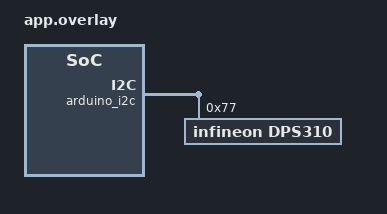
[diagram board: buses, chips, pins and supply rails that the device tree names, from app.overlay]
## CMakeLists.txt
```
# SPDX-License-Identifier: Apache-2.0

cmake_minimum_required(VERSION 3.13.1)
find_package(Zephyr REQUIRED HINTS $ENV{ZEPHYR_BASE})

project(dps310)
FILE(GLOB app_sources src/*.c)
target_sources(app PRIVATE ${app_sources})
```

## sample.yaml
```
sample:
  name: DP310 Sensor sample
tests:
  sample.sensor.dps310:
    harness: console
    tags: sensors
    depends_on: i2c arduino_i2c
    harness_config:
        type: one_line
        regex:
            - "temp: (.*); press: (.*);"
        fixture: fixture_i2c_dps310
```

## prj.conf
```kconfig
CONFIG_STDOUT_CONSOLE=y
CONFIG_I2C=y
CONFIG_SENSOR=y
CONFIG_DPS310=y
```

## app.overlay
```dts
/*
 * Copyright (c) 2019 Infineon Technologies AG
 *
 * SPDX-License-Identifier: Apache-2.0
 */

/*
 * A DPS310 attached to the Arduino I2C pins
 */

&arduino_i2c {
	DPS310@77 {
		status = "okay";
		compatible = "infineon,dps310";
		reg = <0x77>;
		label = "DPS310";
	};
};
```

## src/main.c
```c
/*
 * Copyright (c) 2019 Infineon Technologies AG
 *
 * SPDX-License-Identifier: Apache-2.0
 */

#include <zephyr.h>
#include <device.h>
#include <drivers/sensor.h>
#include <stdlib.h>

void main(void)
{
	printk("Hello DPS310\n");
	const struct device *dev = device_get_binding(DT_LABEL(DT_INST(0, infineon_dps310)));

	if (dev == NULL) {
		printk("Could not get DPS310 device\n");
		return;
	}

	printk("dev %p name %s\n", dev, dev->name);

	while (1) {
		struct sensor_value temp, press;

		sensor_sample_fetch(dev);
		sensor_channel_get(dev, SENSOR_CHAN_AMBIENT_TEMP, &temp);
		sensor_channel_get(dev, SENSOR_CHAN_PRESS, &press);

		printk("temp: %d.%06d; press: %d.%06d\n",
		      temp.val1, abs(temp.val2), press.val1, press.val2);

		k_sleep(K_MSEC(1000));
	}
}
```
